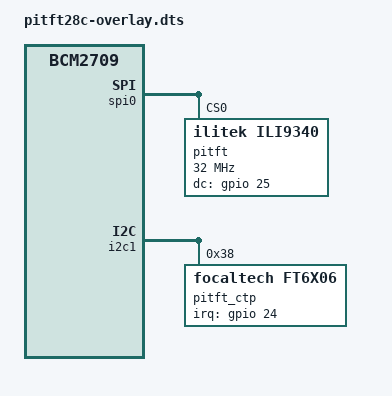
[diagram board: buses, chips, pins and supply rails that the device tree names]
/*
 * Device Tree overlay for pitft by Adafruit
 *
 */

/dts-v1/;
/plugin/;

/ {
        compatible = "brcm,bcm2835", "brcm,bcm2708", "brcm,bcm2709";

        fragment@0 {
                target = <&spi0>;
                __overlay__ {
                        status = "okay";

                        spidev@0{
                                status = "disabled";
                        };

                        spidev@1{
                                status = "disabled";
                        };
                };
        };

        fragment@1 {
                target = <&gpio>;
                __overlay__ {
                        pitft_pins: pitft_pins {
                                brcm,pins = <24 25>;
                                brcm,function = <0 1>; /* in out */
                                brcm,pull = <2 0>; /* pullup none */
                        };
                };
        };

        fragment@2 {
                target = <&spi0>;
                __overlay__ {
                        /* needed to avoid dtc warning */
                        #address-cells = <1>;
                        #size-cells = <0>;

                        pitft: pitft@0{
                                compatible = "ilitek,ili9340";
                                reg = <0>;
                                pinctrl-names = "default";
                                pinctrl-0 = <&pitft_pins>;

                                spi-max-frequency = <32000000>;
                                rotate = <90>;
                                fps = <25>;
                                bgr;
                                buswidth = <8>;
                                dc-gpios = <&gpio 25 0>;
                                debug = <0>;
                        };

                };
        };

        fragment@3 {
                target = <&i2c1>;
                __overlay__ {
                        /* needed to avoid dtc warning */
                        #address-cells = <1>;
                        #size-cells = <0>;
                        pitft_ctp {
                                compatible = "focaltech,ft6x06";
                                reg = <0x38>;
                                irq-gpio = <&gpio 24 2>;
                                interrupts = <24 2>;
                                interrupt-parent = <&gpio>;
                        };
                };
        };

        __overrides__ {
                speed =   <&pitft>,"spi-max-frequency:0";
                rotate =  <&pitft>,"rotate:0";
                fps =     <&pitft>,"fps:0";
                debug =   <&pitft>,"debug:0";
        };
};
